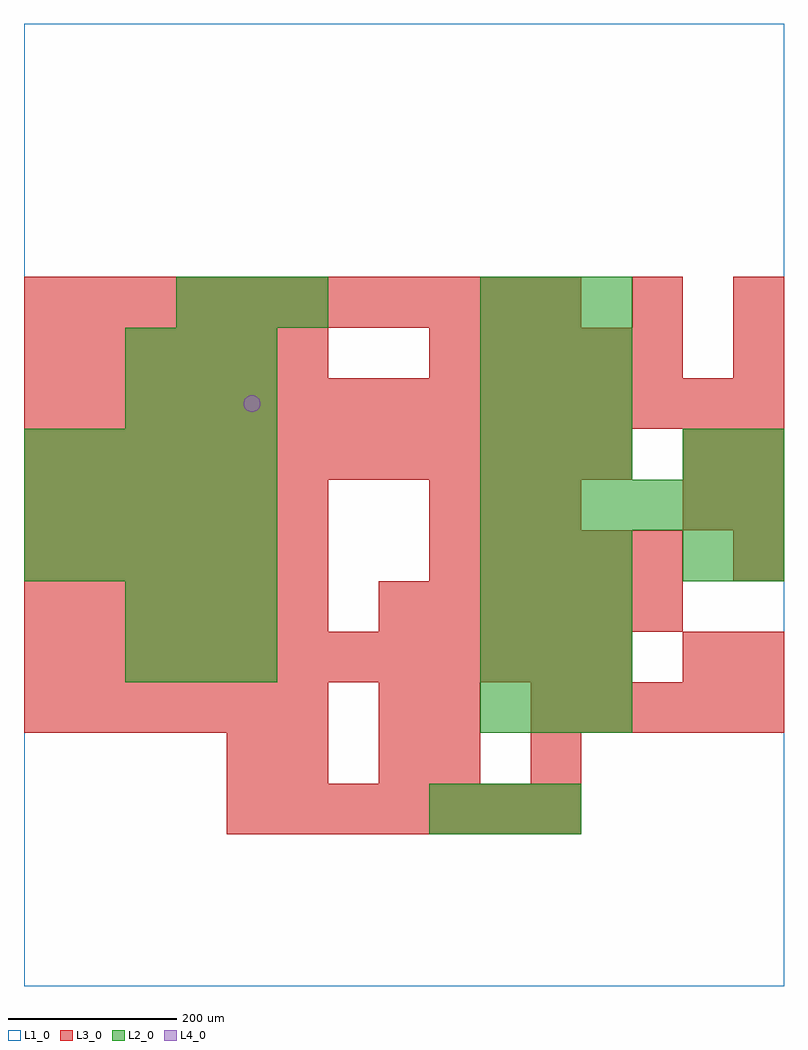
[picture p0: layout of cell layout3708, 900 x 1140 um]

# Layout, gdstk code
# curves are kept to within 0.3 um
import gdstk
lib = gdstk.Library(unit=1e-6, precision=1e-09)
def R(c, l, rs):  # rectangles x0, y0, x1, y1
    for r in rs: c.add(gdstk.rectangle(r[:2], r[2:], *l))
def A(c, l, x, y, w, h, nx, ny, dx, dy):  # array of equal rectangles
    R(c, l, [(x+i*dx, y+j*dy, x+i*dx+w, y+j*dy+h) for i in range(nx) for j in range(ny)])
def P(c, l, *ps):  # polygons
    for p in ps: c.add(gdstk.Polygon(p, *l))
L1_0 = (1, 0)
L2_0 = (2, 0)
L3_0 = (3, 0)
L4_0 = (4, 0)

layout3708 = lib.new_cell('layout3708')
R(layout3708, L1_0, [(0,0,900,1140)])
A(layout3708, L2_0, 480, 180, 60, 60, 3, 1, 60, 0)
A(layout3708, L2_0, 540, 300, 60, 60, 3, 4, 60, 60)
A(layout3708, L2_0, 120, 360, 60, 60, 3, 2, 60, 60)
A(layout3708, L2_0, 0, 480, 60, 60, 5, 3, 60, 60)
A(layout3708, L2_0, 540, 540, 60, 60, 6, 1, 60, 0)
A(layout3708, L2_0, 540, 600, 60, 60, 3, 4, 60, 60)
A(layout3708, L2_0, 120, 660, 60, 60, 3, 2, 60, 60)
A(layout3708, L2_0, 180, 780, 60, 60, 3, 1, 60, 0)
R(layout3708, L2_0, [(780,480,840,540), (840,480,900,540), (780,600,840,660), (840,600,900,660)])
A(layout3708, L3_0, 240, 180, 60, 60, 7, 1, 60, 0)
A(layout3708, L3_0, 0, 300, 60, 60, 6, 2, 60, 120)
A(layout3708, L3_0, 600, 300, 60, 60, 5, 1, 60, 0)
A(layout3708, L3_0, 0, 360, 60, 60, 12, 2, 60, 240)
A(layout3708, L3_0, 420, 420, 60, 60, 6, 1, 60, 0)
A(layout3708, L3_0, 0, 480, 60, 60, 6, 2, 60, 60)
A(layout3708, L3_0, 480, 480, 60, 60, 5, 2, 60, 240)
A(layout3708, L3_0, 840, 480, 60, 60, 1, 3, 0, 60)
A(layout3708, L3_0, 480, 540, 60, 60, 3, 1, 60, 0)
A(layout3708, L3_0, 0, 660, 60, 60, 15, 1, 60, 0)
A(layout3708, L3_0, 0, 720, 60, 60, 6, 1, 60, 0)
A(layout3708, L3_0, 0, 780, 60, 60, 11, 1, 60, 0)
R(layout3708, L3_0, [(240,240,300,300), (300,240,360,300), (420,240,480,300), (480,240,540,300), (600,240,660,300), (420,300,480,360), (480,300,540,360), (780,360,840,420), (840,360,900,420), (780,540,840,600), (780,600,840,660), (840,720,900,780), (720,780,780,840), (840,780,900,840)])
P(layout3708, L4_0, [(280,690),(279.239,693.827),(277.071,697.071),(273.827,699.239),(270,700),(266.173,699.239),(262.929,697.071),(260.761,693.827),(260,690),(260.761,686.173),(262.929,682.929),(266.173,680.761),(270,680),(273.827,680.761),(277.071,682.929),(279.239,686.173)])

lib.write_gds('layout3708.gds')
